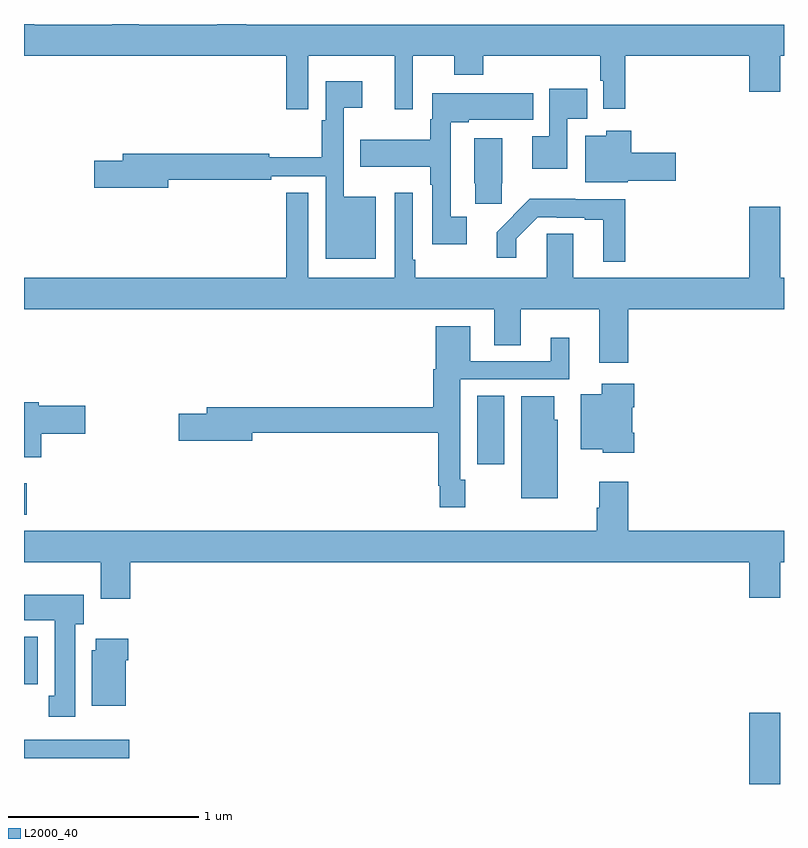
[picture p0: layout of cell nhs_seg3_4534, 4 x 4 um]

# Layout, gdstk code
import gdstk
lib = gdstk.Library(unit=1e-6, precision=1e-09)
def R(c, l, rs):  # rectangles x0, y0, x1, y1
    for r in rs: c.add(gdstk.rectangle(r[:2], r[2:], *l))
def P(c, l, *ps):  # polygons
    for p in ps: c.add(gdstk.Polygon(p, *l))
L2000_40 = (2000, 40)

nhs_seg3_4534 = lib.new_cell('nhs_seg3_4534')
R(nhs_seg3_4534, L2000_40, [(356.816,714.4,356.98,714.775), (353,714.536,353.554,714.633), (353,714.924,353.073,715.174), (353,715.818,353.015,715.984), (355.385,716.082,355.528,716.444)])
P(nhs_seg3_4534, L2000_40, [(354.495,718.232),(354.95,718.232),(354.95,717.951),(355.047,717.951),(355.047,718.232),(355.265,718.232),(355.265,718.133),(355.418,718.133),(355.418,718.232),(356.033,718.232),(356.033,718.101),(356.049,718.101),(356.049,717.954),(356.165,717.954),(356.165,718.232),(356.816,718.232),(356.816,718.044),(356.98,718.044),(356.98,718.232),(357,718.232),(357,718.396),(354.17,718.396),(354.17,718.4),(354.017,718.4),(354.017,718.396),(353.605,718.396),(353.605,718.4),(353.465,718.4),(353.465,718.396),(353.053,718.396),(353.053,718.4),(353,718.4),(353,718.232),(354.379,718.232),(354.379,717.951),(354.495,717.951)],
  [(354.85,717.49),(354.684,717.49),(354.684,717.959),(354.781,717.959),(354.781,718.099),(354.588,718.099),(354.588,717.894),(354.568,717.894),(354.568,717.699),(354.291,717.699),(354.291,717.716),(353.519,717.716),(353.519,717.68),(353.37,717.68),(353.37,717.538),(353.758,717.538),(353.758,717.58),(354.302,717.58),(354.302,717.6),(354.587,717.6),(354.587,717.164),(354.85,717.164)],
  [(355.86,717.902),(355.964,717.902),(355.964,718.059),(355.764,718.059),(355.764,717.808),(355.676,717.808),(355.676,717.638),(355.86,717.638)],
  [(355.33,717.385),(355.245,717.385),(355.245,717.884),(355.342,717.884),(355.342,717.896),(355.679,717.896),(355.679,718.036),(355.149,718.036),(355.149,717.9),(355.137,717.9),(355.137,717.79),(354.769,717.79),(354.769,717.65),(355.137,717.65),(355.137,717.554),(355.149,717.554),(355.149,717.242),(355.33,717.242)],
  [(356.178,717.575),(356.431,717.575),(356.431,717.722),(356.195,717.722),(356.195,717.838),(356.064,717.838),(356.064,717.811),(355.955,717.811),(355.955,717.566),(356.178,717.566)],
  [(355.514,717.562),(355.516,717.562),(355.516,717.799),(355.37,717.799),(355.37,717.562),(355.374,717.562),(355.374,717.453),(355.514,717.453)],
  [(356.18,716.9),(357,716.9),(357,717.064),(356.98,717.064),(356.98,717.439),(356.816,717.439),(356.816,717.064),(355.891,717.064),(355.891,717.296),(355.751,717.296),(355.751,717.064),(355.06,717.064),(355.06,717.16),(355.047,717.16),(355.047,717.511),(354.951,717.511),(354.951,717.064),(354.495,717.064),(354.495,717.511),(354.379,717.511),(354.379,717.064),(353,717.064),(353,716.9),(355.475,716.9),(355.475,716.71),(355.615,716.71),(355.615,716.9),(356.027,716.9),(356.027,716.616),(356.18,716.616)],
  [(356.165,717.477),(355.902,717.477),(355.902,717.481),(355.663,717.481),(355.488,717.305),(355.488,717.171),(355.59,717.171),(355.59,717.27),(355.704,717.384),(355.804,717.384),(355.804,717.381),(355.952,717.381),(355.952,717.369),(356.048,717.369),(356.048,717.149),(356.165,717.149)],
  [(355.323,716.001),(355.296,716.001),(355.296,716.529),(355.87,716.529),(355.87,716.749),(355.772,716.749),(355.772,716.625),(355.348,716.625),(355.348,716.809),(355.166,716.809),(355.166,716.583),(355.154,716.583),(355.154,716.384),(353.963,716.384),(353.963,716.348),(353.814,716.348),(353.814,716.206),(354.202,716.206),(354.202,716.248),(355.18,716.248),(355.18,715.969),(355.188,715.969),(355.188,715.857),(355.323,715.857)],
  [(356.213,716.248),(356.2,716.248),(356.2,716.384),(356.213,716.384),(356.213,716.506),(356.042,716.506),(356.042,716.452),(355.931,716.452),(355.931,716.162),(356.046,716.162),(356.046,716.144),(356.213,716.144)],
  [(355.81,716.316),(355.792,716.316),(355.792,716.44),(355.616,716.44),(355.616,715.904),(355.81,715.904)],
  [(353.09,716.243),(353.323,716.243),(353.323,716.39),(353.077,716.39),(353.077,716.41),(353,716.41),(353,716.121),(353.09,716.121)],
  [(356.816,715.38),(356.98,715.38),(356.98,715.568),(357,715.568),(357,715.732),(356.18,715.732),(356.18,715.99),(356.027,715.99),(356.027,715.853),(356.015,715.853),(356.015,715.732),(353,715.732),(353,715.568),(353.405,715.568),(353.405,715.374),(353.558,715.374),(353.558,715.568),(356.816,715.568)],
  [(353.269,715.242),(353.314,715.242),(353.314,715.396),(353,715.396),(353,715.262),(353.162,715.262),(353.162,714.865),(353.129,714.865),(353.129,714.753),(353.269,714.753)],
  [(353.536,715.052),(353.549,715.052),(353.549,715.165),(353.378,715.165),(353.378,715.104),(353.357,715.104),(353.357,714.812),(353.536,714.812)])

lib.write_gds('nhs_seg3_4534.gds')
